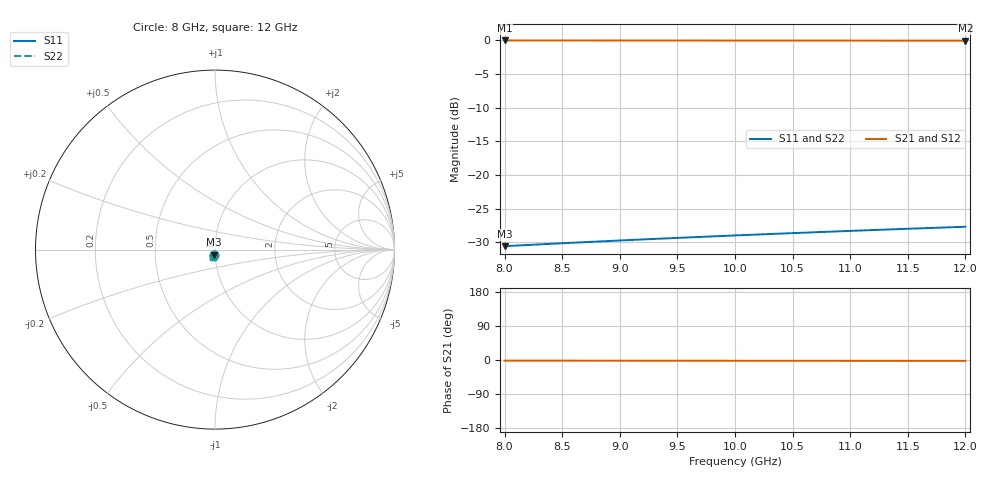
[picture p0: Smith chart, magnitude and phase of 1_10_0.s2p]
! Created Mon Oct 19 10:30:39 2020
# ghz S db R 50
! 2 Port Network Data from SP1.SP block
! freq  dbS11  angS11  dbS21  angS21  dbS12  angS12  dbS22  angS22
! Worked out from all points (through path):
!   9 points, 8 GHz to 12 GHz, reference 50 ohm
!   highest |S21| = -0.06 dB at 8 GHz (marker M1); lowest = -0.1 dB at 12 GHz (marker M2)
!   lowest |S11| = -30.5 dB at 8 GHz (marker M3), VSWR 1.06, Z = 49.2 - j2.85 ohm
!   |S11| at or under -10 dB: start of sweep to end of sweep
!   |S22| runs from -30.5 to -27.7 dB; largest |S21 - S12| = 0
8  -30.55 -103.2  -0.06 -1.7  -0.06 -1.7  -30.55 -103.2
8.5  -30.11 -103.4  -0.06 -1.8  -0.06 -1.8  -30.11 -103.4
9  -29.71 -103.6  -0.06 -1.8  -0.06 -1.8  -29.71 -103.6
9.5  -29.32 -103.8  -0.07 -1.9  -0.07 -1.9  -29.32 -103.8
10  -28.96 -104.0  -0.07 -2.0  -0.07 -2.0  -28.96 -104.0
10.5  -28.61 -104.1  -0.07 -2.1  -0.07 -2.1  -28.61 -104.1
11  -28.29 -104.2  -0.08 -2.2  -0.08 -2.2  -28.29 -104.2
11.5  -27.97 -104.3  -0.08 -2.2  -0.08 -2.2  -27.97 -104.3
12  -27.67 -104.4  -0.08 -2.3  -0.08 -2.3  -27.67 -104.4
